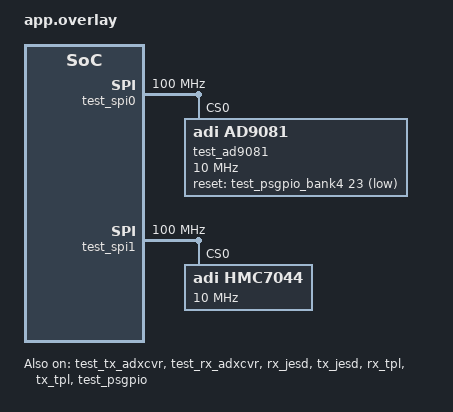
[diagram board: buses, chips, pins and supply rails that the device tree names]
/*
 * Copyright (c) 2026 Analog Devices, Inc.
 *
 * SPDX-License-Identifier: Apache-2.0
 *
 * Application overlay for testing the ADI JESD204 driver builds: the AXI IP
 * cores in FPGA fabric (adxcvr, JESD204 rx/tx link, AD9081 rx/tx transport),
 * the HMC7044 clock generator and the AD9081/AD9082 MxFE.
 *
 * Unlike most build_all overlays this cannot use vnd,* placeholder buses or
 * arbitrary node names:
 *
 *   - The link and transport drivers cross-check the two ends of one link
 *     against each other with BUILD_ASSERTs that name DT_NODELABEL(rx_jesd),
 *     tx_jesd and rx_tpl directly, so those three labels are load-bearing.
 *   - The geometry values must be internally consistent (M8 L4 F4 K32 N16 NP16
 *     S1 CS0, subclass 1) or those asserts fail the build. They are the
 *     zcu102_ad9081_m8_l4 profile's, same as the sample's.
 *   - The addresses are the real ones from that board's bitstream. Nothing is
 *     accessed in a build-only test, but device_map() of each page is what
 *     CONFIG_MAX_XLAT_TABLES is sized for.
 */

#include <zephyr/dt-bindings/gpio/gpio.h>
#include <zephyr/dt-bindings/interrupt-controller/arm-gic.h>
#include <zephyr/dt-bindings/jesd204/adxcvr.h>

/ {
	soc {
		test_spi0: spi@ff040000 {
			compatible = "cdns,spi";
			reg = <0x0 0xff040000 0x0 0x1000>;
			status = "okay";
			interrupts = <GIC_SPI 19 IRQ_TYPE_LEVEL IRQ_DEFAULT_PRIORITY>;
			#address-cells = <1>;
			#size-cells = <0>;
			fifo-width = <8>;
			rx-fifo-depth = <128>;
			tx-fifo-depth = <128>;
			clock-frequency = <100000000>;

			/*
			 * AD9082 MxFE. Rates in kHz (the DAC runs at 12 GHz and
			 * a DT int is one 32-bit cell); NCO shifts in Hz.
			 *
			 * 6 * 8 = 48x interpolation and 4 * 4 = 16x decimation
			 * both land on the link's 250 MSPS: 12 GHz / 48 and
			 * 4 GHz / 16. There is a BUILD_ASSERT tying
			 * adi,ref-clk-frequency-khz to the HMC7044 output that
			 * feeds it, which is why the clock node below is not
			 * optional here.
			 */
			test_ad9081: ad9081@0 {
				compatible = "adi,ad9081";
				reg = <0>;
				spi-max-frequency = <10000000>;
				reset-gpios = <&test_psgpio_bank4 23 GPIO_ACTIVE_LOW>;

				adi,dac-frequency-khz = <12000000>;
				adi,adc-frequency-khz = <4000000>;
				adi,ref-clk-frequency-khz = <250000>;

				adi,jesd-tx-link = <&tx_jesd>;
				adi,jesd-rx-link = <&rx_jesd>;

				adi,jesd204-devices =
					<&test_tx_adxcvr &test_rx_adxcvr
					 &tx_jesd &rx_jesd>;

				adi,tx-jesd-mode-id = <9>;
				adi,rx-jesd-mode-id = <10>;

				adi,tx-main-interpolation = <6>;
				adi,tx-channel-interpolation = <8>;
				adi,tx-dac-channel-crossbar = <0x1 0x2 0x4 0x8>;
				adi,tx-main-nco-shift-hz =
					<2000000000 2000000000
					 2000000000 2000000000>;
				adi,tx-channel-nco-shift-hz = <0 0 0 0 0 0 0 0>;
				/* 1024 = unity in the vendor API's 1.10 format. */
				adi,tx-channel-gains =
					<1024 1024 1024 1024 0 0 0 0>;
				/* Board SERDES wiring; 7 = unconnected. */
				adi,tx-logical-lane-mapping = <0 2 7 7 1 7 7 3>;

				adi,rx-coarse-ddc-select = <0xf>;
				adi,rx-fine-ddc-select = <0x33>;
				adi,rx-coarse-decimation = <4 4 4 4>;
				/* 0 marks a fine DDC the select mask disables. */
				adi,rx-fine-decimation = <4 4 0 0 4 4 0 0>;
				adi,rx-coarse-nco-shift-hz =
					<2000000000 2000000000
					 2000000000 2000000000>;
				adi,rx-fine-nco-shift-hz = <0 0 0 0 0 0 0 0>;
				adi,rx-logical-lane-mapping = <2 0 7 7 7 7 3 1>;
				/* Only the first M (8) entries are meaningful. */
				adi,rx-link-converter-select =
					<0 1 2 3 8 9 10 11
					 0 0 0 0 0 0 0 0>;
			};
		};

		test_spi1: spi@ff050000 {
			compatible = "cdns,spi";
			reg = <0x0 0xff050000 0x0 0x1000>;
			status = "okay";
			interrupts = <GIC_SPI 20 IRQ_TYPE_LEVEL IRQ_DEFAULT_PRIORITY>;
			#address-cells = <1>;
			#size-cells = <0>;
			fifo-width = <8>;
			rx-fifo-depth = <128>;
			tx-fifo-depth = <128>;
			clock-frequency = <100000000>;

			/*
			 * HMC7044. PLL2 is 3 GHz, so output divider N gives
			 * 3000/N MHz -- out2 = 250 MHz is the AD9081's device
			 * REFCLK and out12 = 500 MHz is the GT reference the
			 * two adxcvr nodes take a phandle to.
			 */
			hmc7044: hmc7044@0 {
				compatible = "adi,hmc7044";
				reg = <0>;
				spi-max-frequency = <10000000>;

				#clock-cells = <1>;
				#address-cells = <1>;
				#size-cells = <0>;

				adi,pll1-clkin-frequencies =
					<100000000 10000000 0 0>;
				adi,vcxo-frequency = <100000000>;
				adi,pll2-output-frequency = <3000000000>;

				adi,pll1-loop-bandwidth-hz = <200>;
				adi,pll1-ref-prio-ctrl = <0xe4>;
				adi,sysref-timer-divider = <1024>;
				adi,pulse-generator-mode = <0>;
				adi,sync-pin-mode = <1>;

				adi,clkin0-buffer-mode = <0x07>;
				adi,clkin1-buffer-mode = <0x07>;
				adi,clkin2-buffer-mode = <0x00>;
				adi,clkin3-buffer-mode = <0x00>;
				adi,oscin-buffer-mode = <0x15>;

				adi,gpi-controls = <0x00 0x00 0x00 0x00>;
				adi,gpo-controls = <0x37 0x33 0x00 0x00>;

				hmc7044_c2: channel@2 {
					reg = <2>;
					adi,extended-name = "DEV_REFCLK";
					adi,divider = <12>;    /* 250 MHz */
					adi,driver-mode = <2>; /* LVDS */
				};

				channel@3 {
					reg = <3>;
					adi,extended-name = "DEV_SYSREF";
					adi,divider = <1536>;  /* 1.953 MHz */
					adi,driver-mode = <2>;
					adi,jesd204-sysref-chan;
				};

				channel@c {
					reg = <12>;
					adi,extended-name = "FPGA_REFCLK";
					adi,divider = <6>;     /* 500 MHz */
					adi,driver-mode = <2>;
				};

				channel@d {
					reg = <13>;
					adi,extended-name = "FPGA_SYSREF";
					adi,divider = <1536>;  /* 1.953 MHz */
					adi,driver-mode = <2>;
					adi,jesd204-sysref-chan;
				};
			};
		};

		/*
		 * GT transceivers, one per direction. reg covers a full 64 KiB
		 * page rather than the core's smaller register block, because a
		 * page is what device_map() works in.
		 *
		 * TX takes QPLL0 and RX takes CPLL, as on the reference board --
		 * both mux selections are exercised this way, and the driver
		 * BUILD_ASSERTs that adi,out-clk-select is not the divided
		 * refclk on either.
		 */
		test_tx_adxcvr: adxcvr@84b60000 {
			compatible = "adi,axi-adxcvr-1.0";
			reg = <0x0 0x84b60000 0x0 0x10000>;
			status = "okay";
			clocks = <&hmc7044 12>;

			adi,sys-clk-select = <XCVR_QPLL>;
			adi,out-clk-select = <XCVR_PROGDIV_CLK>;
			adi,lane-rate-khz = <10000000>;
		};

		test_rx_adxcvr: adxcvr@84a60000 {
			compatible = "adi,axi-adxcvr-1.0";
			reg = <0x0 0x84a60000 0x0 0x10000>;
			status = "okay";
			clocks = <&hmc7044 12>;

			adi,sys-clk-select = <XCVR_CPLL>;
			adi,out-clk-select = <XCVR_PROGDIV_CLK>;
			adi,lane-rate-khz = <10000000>;

			/* LPM equalisation rather than DFE -- RX only. */
			adi,use-lpm-enable;
		};

		/*
		 * JESD204 link cores. The node labels rx_jesd / tx_jesd are
		 * required verbatim: axi_jesd204.c BUILD_ASSERTs the shared
		 * geometry by naming them, and derives HD from M/L/S/NP/F rather
		 * than reading a property, so the two sets below have to agree.
		 */
		rx_jesd: axi-jesd204-rx@84a90000 {
			compatible = "adi,axi-jesd204-rx-1.0";
			reg = <0x0 0x84a90000 0x0 0x10000>;
			status = "okay";

			adi,lanes-per-device = <4>;
			adi,converters-per-device = <8>;
			adi,octets-per-frame = <4>;
			adi,frames-per-multiframe = <32>;
			adi,bits-per-sample = <16>;
			adi,subclass = <1>;
		};

		tx_jesd: axi-jesd204-tx@84b90000 {
			compatible = "adi,axi-jesd204-tx-1.0";
			reg = <0x0 0x84b90000 0x0 0x10000>;
			status = "okay";

			adi,lanes-per-device = <4>;
			adi,converters-per-device = <8>;
			adi,octets-per-frame = <4>;
			adi,frames-per-multiframe = <32>;
			adi,bits-per-sample = <16>;
			adi,subclass = <1>;

			/*
			 * ILAS-only, so the deframer carries these and the
			 * framer has no register for them.
			 */
			adi,converter-resolution = <16>;
			adi,control-bits-per-sample = <0>;
			adi,samples-per-converter-per-frame = <1>;
		};

		/*
		 * Transport cores. rx_tpl is another label named directly by a
		 * BUILD_ASSERT, which ties adi,num-channels to the link's M.
		 */
		rx_tpl: axi-ad9081-rx@84a10000 {
			compatible = "adi,axi-ad9081-rx-1.0";
			reg = <0x0 0x84a10000 0x0 0x10000>;
			status = "okay";

			/* One channel per converter: M8. */
			adi,num-channels = <8>;

			/* The vendor ADC init requires PCORE major >= 9. */
			adi,pcore-version-min-major = <9>;
		};

		tx_tpl: axi-ad9081-tx@84b10000 {
			compatible = "adi,axi-ad9081-tx-1.0";
			reg = <0x0 0x84b10000 0x0 0x10000>;
			status = "okay";

			adi,num-channels = <8>;
		};

		/* Only bank 4 is used, for the AD9081's active-low RSTB. */
		test_psgpio: gpio@ff0a0000 {
			compatible = "xlnx,ps-gpio";
			reg = <0x0 0xff0a0000 0x0 0x1000>;
			status = "okay";
			interrupts = <GIC_SPI 16 IRQ_TYPE_LEVEL IRQ_DEFAULT_PRIORITY>;
			interrupt-names = "irq_0";

			#address-cells = <1>;
			#size-cells = <0>;

			test_psgpio_bank4: psgpio_bank@4 {
				compatible = "xlnx,ps-gpio-bank";
				reg = <0x4>;
				gpio-controller;
				#gpio-cells = <2>;
				ngpios = <32>;
				status = "okay";
			};
		};
	};
};
